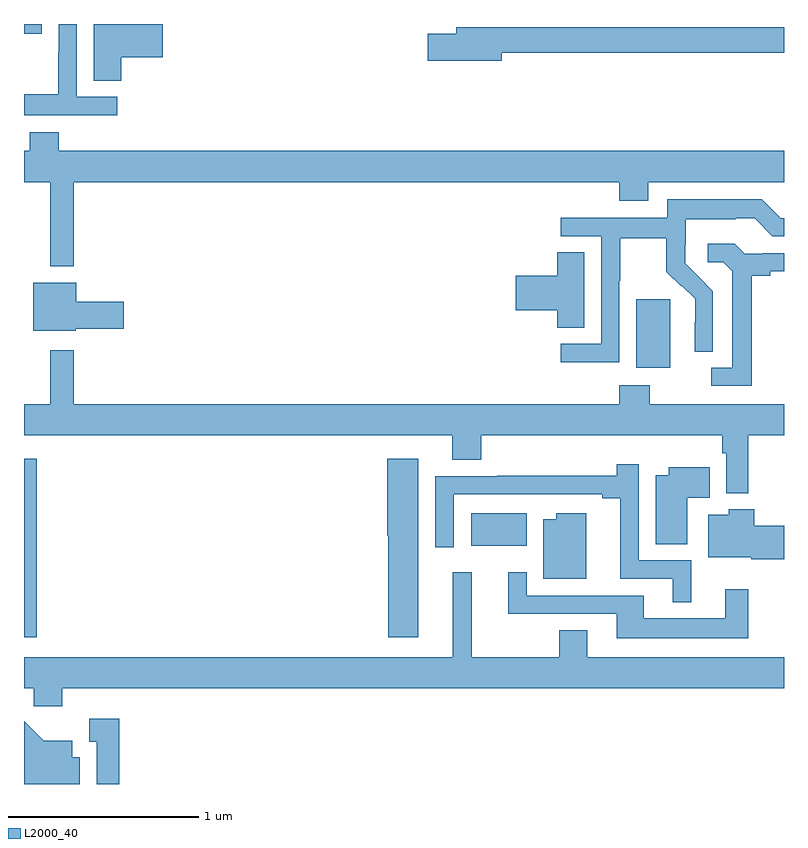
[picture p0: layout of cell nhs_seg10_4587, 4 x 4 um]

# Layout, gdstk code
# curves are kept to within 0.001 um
import gdstk
lib = gdstk.Library(unit=1e-6, precision=1e-09)
def R(c, l, rs):  # rectangles x0, y0, x1, y1
    for r in rs: c.add(gdstk.rectangle(r[:2], r[2:], *l))
def P(c, l, *ps):  # polygons
    for p in ps: c.add(gdstk.Polygon(p, *l))
L2000_40 = (2000, 40)

nhs_seg10_4587 = lib.new_cell('nhs_seg10_4587')
R(nhs_seg10_4587, L2000_40, [(373,1279.272,373.067,1280.212), (375.353,1279.754,375.646,1279.924), (376.223,1280.69,376.402,1281.051), (373,1282.449,373.093,1282.5)])
P(nhs_seg10_4587, L2000_40, [(373.511,1282.325),(373.729,1282.325),(373.729,1282.5),(373.367,1282.5),(373.367,1282.201),(373.511,1282.201)],
  [(373.492,1282.116),(373.278,1282.116),(373.278,1282.5),(373.182,1282.5),(373.182,1282.352),(373.18,1282.352),(373.18,1282.129),(373,1282.129),(373,1282.02),(373.492,1282.02)],
  [(375.514,1282.348),(377,1282.348),(377,1282.484),(375.275,1282.484),(375.275,1282.448),(375.126,1282.448),(375.126,1282.306),(375.514,1282.306)],
  [(373.261,1281.668),(376.133,1281.668),(376.133,1281.569),(376.285,1281.569),(376.285,1281.668),(377,1281.668),(377,1281.832),(373.184,1281.832),(373.184,1281.931),(373.031,1281.931),(373.031,1281.832),(373,1281.832),(373,1281.668),(373.139,1281.668),(373.139,1281.224),(373.261,1281.224)],
  [(376.134,1281.148),(376.137,1281.148),(376.137,1281.372),(376.381,1281.372),(376.381,1281.197),(376.458,1281.12),(376.461,1281.123),(376.532,1281.053),(376.532,1280.93),(376.53,1280.93),(376.53,1280.776),(376.626,1280.776),(376.626,1281.094),(376.48,1281.242),(376.48,1281.339),(376.482,1281.339),(376.482,1281.473),(376.745,1281.473),(376.745,1281.477),(376.845,1281.477),(376.938,1281.384),(377,1281.384),(377,1281.477),(376.983,1281.477),(376.883,1281.577),(376.386,1281.577),(376.386,1281.48),(375.825,1281.48),(375.825,1281.384),(376.038,1281.384),(376.038,1280.817),(375.825,1280.817),(375.825,1280.719),(376.134,1280.719)],
  [(376.831,1281.176),(376.927,1281.176),(376.927,1281.198),(377,1281.198),(377,1281.294),(376.888,1281.294),(376.888,1281.291),(376.794,1281.291),(376.742,1281.343),(376.599,1281.343),(376.599,1281.246),(376.68,1281.246),(376.727,1281.199),(376.727,1280.691),(376.617,1280.691),(376.617,1280.595),(376.831,1280.595)],
  [(375.949,1281.299),(375.806,1281.299),(375.806,1281.176),(375.588,1281.176),(375.588,1280.993),(375.806,1280.993),(375.806,1280.902),(375.949,1280.902)],
  [(373.272,1280.896),(373.525,1280.896),(373.525,1281.038),(373.276,1281.038),(373.276,1281.139),(373.049,1281.139),(373.049,1280.885),(373.272,1280.885)],
  [(376.811,1280.336),(377,1280.336),(377,1280.5),(376.293,1280.5),(376.293,1280.599),(376.133,1280.599),(376.133,1280.5),(373.261,1280.5),(373.261,1280.782),(373.139,1280.782),(373.139,1280.5),(373,1280.5),(373,1280.336),(375.254,1280.336),(375.254,1280.206),(375.407,1280.206),(375.407,1280.336),(376.675,1280.336),(376.675,1280.24),(376.695,1280.24),(376.695,1280.03),(376.811,1280.03)],
  [(375.076,1280.212),(374.912,1280.212),(374.912,1279.806),(374.918,1279.806),(374.918,1279.272),(375.076,1279.272)],
  [(376.513,1279.677),(376.236,1279.677),(376.236,1280.182),(376.12,1280.182),(376.12,1280.123),(375.49,1280.123),(375.49,1280.121),(375.165,1280.121),(375.165,1279.746),(375.261,1279.746),(375.261,1280.025),(376.043,1280.025),(376.043,1280.005),(376.139,1280.005),(376.139,1279.581),(376.415,1279.581),(376.415,1279.457),(376.513,1279.457)],
  [(376.492,1280.006),(376.61,1280.006),(376.61,1280.167),(376.394,1280.167),(376.394,1280.125),(376.325,1280.125),(376.325,1279.762),(376.492,1279.762)],
  [(377,1279.86),(376.844,1279.86),(376.844,1279.945),(376.71,1279.945),(376.71,1279.918),(376.601,1279.918),(376.601,1279.694),(376.827,1279.694),(376.827,1279.682),(377,1279.682)],
  [(375.958,1279.924),(375.8,1279.924),(375.8,1279.894),(375.734,1279.894),(375.734,1279.58),(375.958,1279.58)],
  [(376.813,1279.525),(376.691,1279.525),(376.691,1279.372),(376.261,1279.372),(376.261,1279.491),(375.645,1279.491),(375.645,1279.615),(375.548,1279.615),(375.548,1279.395),(376.121,1279.395),(376.121,1279.268),(376.813,1279.268)],
  [(373.202,1279.004),(377,1279.004),(377,1279.168),(375.964,1279.168),(375.964,1279.31),(375.817,1279.31),(375.817,1279.168),(375.356,1279.168),(375.356,1279.615),(375.257,1279.615),(375.257,1279.168),(373,1279.168),(373,1279.004),(373.05,1279.004),(373.05,1278.909),(373.202,1278.909)],
  [(373.501,1278.844),(373.343,1278.844),(373.343,1278.723),(373.382,1278.723),(373.382,1278.5),(373.501,1278.5)],
  [(373.294,1278.64),(373.255,1278.64),(373.255,1278.727),(373.103,1278.727),(373,1278.829),(373,1278.5),(373.294,1278.5)])

lib.write_gds('nhs_seg10_4587.gds')
